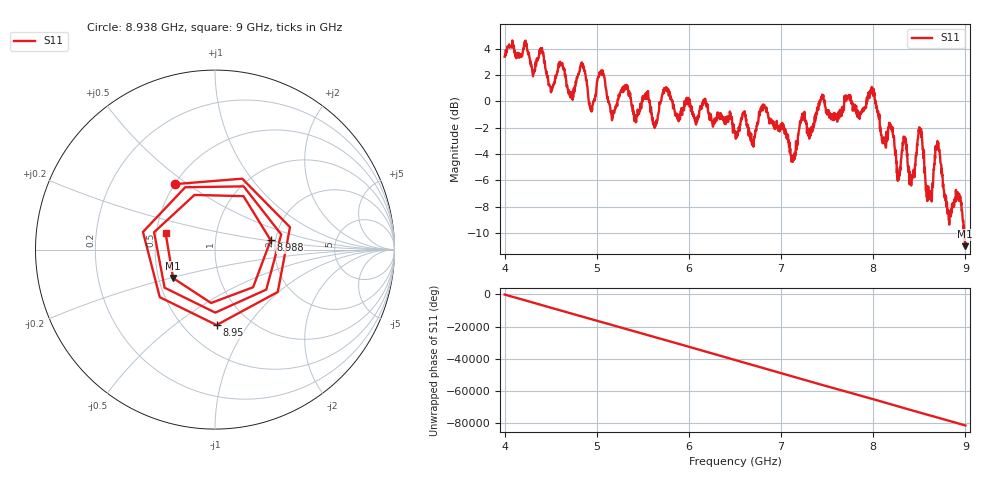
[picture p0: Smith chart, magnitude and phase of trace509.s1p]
! Created with skrf 1.8.0 (http://scikit-rf.org).
# Hz S RI R 50.0
!freq ReS11 ImS11
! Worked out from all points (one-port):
!   1601 points, 4 GHz to 9 GHz, reference 50 ohm
!   lowest |S11| = -11.0 dB at 8.997 GHz (marker M1), VSWR 1.79, Z = 29.7 - j10.3 ohm
!   |S11| at or under -10 dB: 8.987692 GHz to end of sweep
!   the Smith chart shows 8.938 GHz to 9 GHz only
!   S11 on the Smith chart (normalised r, x): 8.938 GHz: 0.50, +0.45; 8.95 GHz: 0.71, -0.73; 8.988 GHz: 1.88, +0.22; 9 GHz: 0.56, +0.11
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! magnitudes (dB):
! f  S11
! 4 GHz  3.4
! 4.503 GHz  0.7
! 4.625 GHz  2.9
! 4.719 GHz  0.5
! 4.847 GHz  2.7
! 4.938 GHz  -0.7
! 5.05 GHz  2.2
! 5.166 GHz  -1.4
! 5.25 GHz  0.6
! 5.875 GHz  -1.3
! 6.5 GHz  -2.3
! 6.816 GHz  -0.3
! 7.125 GHz  -4.5
! 7.231 GHz  -0.9
! 7.75 GHz  0.4
! 7.988 GHz  0.8
! 8.272 GHz  -5.7
! 8.375 GHz  -4.9
! 8.425 GHz  -5.5
! 8.506 GHz  -2.1
! 8.594 GHz  -6.8
! 8.7 GHz  -3.3
! 8.819 GHz  -9.0
! 8.938 GHz  -7.4
! 8.95 GHz  -7.5
! 8.988 GHz  -10.0
! 8.997 GHz  -11.0
! 9 GHz  -10.8
